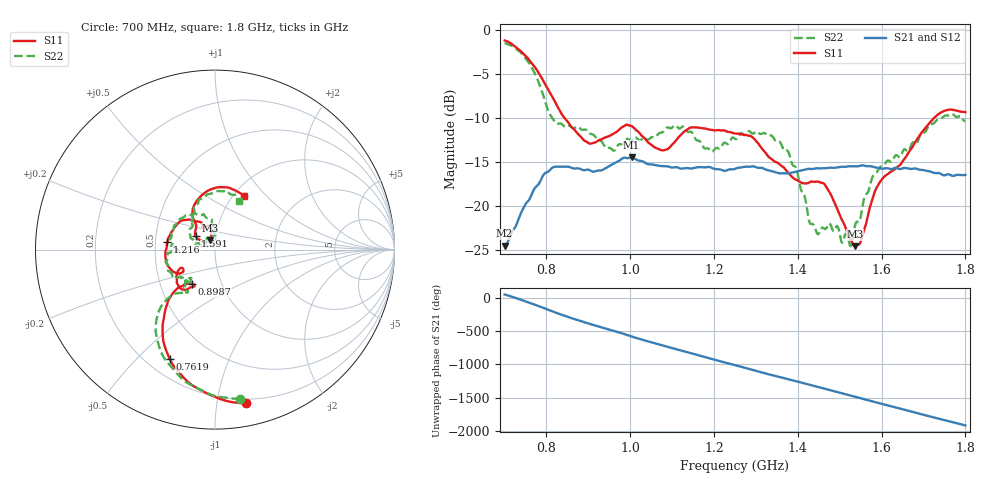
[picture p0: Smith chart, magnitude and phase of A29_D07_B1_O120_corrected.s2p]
! Created with skrf 1.9.0 (http://scikit-rf.org).
# Hz S RI R 50.0
!freq ReS11 ImS11 ReS21 ImS21 ReS12 ImS12 ReS22 ImS22
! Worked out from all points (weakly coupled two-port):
!   1601 points, 700 MHz to 1.8 GHz, reference 50 ohm
!   highest |S21| = -14.46 dB at 1.003 GHz (marker M1); lowest = -24.5 dB at 700 MHz (marker M2)
!   lowest |S11| = -24.6 dB at 1.537 GHz (marker M3), VSWR 1.13, Z = 47.1 + j4.94 ohm
!   |S11| at or under -10 dB: 843.2 MHz to 1.725 GHz (882 MHz wide, 68.7 % of centre)
!   |S22| runs from -24.6 to -1.5 dB; largest |S21 - S12| = 0.0036
!   S11 on the Smith chart (normalised r, x): 700 MHz: 0.17, -1.21; 761.9 MHz: 0.29, -0.63; 898.7 MHz: 0.72, -0.29; 1.216 GHz: 0.58, +0.05; 1.591 GHz: 0.80, +0.12; 1.8 GHz: 1.12, +0.76
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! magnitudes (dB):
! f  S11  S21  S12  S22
! 700 MHz  -1.2  -24.5  -24.3  -1.5
! 761.9 MHz  -3.6  -19.0  -18.9  -4.0
! 818.9 MHz  -8.0  -15.5  -15.7  -10.4
! 883.6 MHz  -12.2  -15.8  -15.7  -11.3
! 898.7 MHz  -12.8  -15.9  -15.9  -11.5
! 959.2 MHz  -11.8  -15.2  -15.2  -13.7
! 1.003 GHz  -10.9  -14.5  -14.6  -12.7
! 1.067 GHz  -13.5  -15.4  -15.4  -11.8
! 1.126 GHz  -11.6  -15.7  -15.7  -11.0
! 1.216 GHz  -11.4  -15.9  -15.9  -13.3
! 1.25 GHz  -11.8  -15.8  -15.7  -12.4
! 1.357 GHz  -15.3  -16.3  -16.2  -12.7
! 1.396 GHz  -17.0  -16.1  -16.1  -15.7
! 1.434 GHz  -17.2  -15.8  -15.8  -22.0
! 1.468 GHz  -17.8  -15.7  -15.7  -22.5
! 1.525 GHz  -23.8  -15.5  -15.5  -24.5
! 1.537 GHz  -24.6  -15.5  -15.5  -22.2
! 1.551 GHz  -23.9  -15.4  -15.4  -21.0
! 1.591 GHz  -17.7  -15.7  -15.7  -16.0
! 1.617 GHz  -16.3  -15.8  -15.7  -14.8
! 1.733 GHz  -9.6  -16.2  -16.3  -10.2
! 1.8 GHz  -9.3  -16.5  -16.5  -10.3
